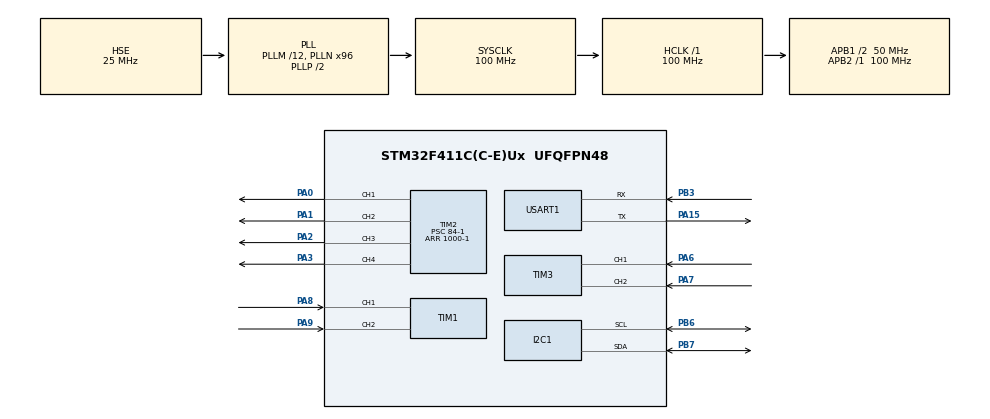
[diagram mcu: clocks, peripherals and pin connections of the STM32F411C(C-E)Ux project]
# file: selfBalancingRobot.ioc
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Mcu.Family=STM32F4
Mcu.Name=STM32F411C(C-E)Ux
Mcu.Package=UFQFPN48
NVIC.PriorityGroup=NVIC_PRIORITYGROUP_4
NVIC.TIM4_IRQn=true\:0\:0\:false\:false\:true\:true\:true\:true
PA0-WKUP.Signal=S_TIM2_CH1_ETR
PA1.Signal=S_TIM2_CH2
PA15.Mode=Asynchronous
PA15.Signal=USART1_TX
PA2.Signal=S_TIM2_CH3
PA3.Signal=S_TIM2_CH4
PA6.Signal=S_TIM3_CH1
PA7.Signal=S_TIM3_CH2
PA8.Signal=S_TIM1_CH1
PA9.Signal=S_TIM1_CH2
PB3.Mode=Asynchronous
PB3.Signal=USART1_RX
PB6.GPIO_Pu=GPIO_PULLUP
PB6.GPIO_Speed=GPIO_SPEED_FREQ_LOW
PB6.Mode=I2C
PB6.Signal=I2C1_SCL
PB7.GPIO_Pu=GPIO_PULLUP
PB7.GPIO_Speed=GPIO_SPEED_FREQ_LOW
PB7.Mode=I2C
PB7.Signal=I2C1_SDA
PH0\ -\ OSC_IN.Mode=HSE-External-Oscillator
PH0\ -\ OSC_IN.Signal=RCC_OSC_IN
PH1\ -\ OSC_OUT.Mode=HSE-External-Oscillator
PH1\ -\ OSC_OUT.Signal=RCC_OSC_OUT
ProjectManager.HeapSize=0x200
ProjectManager.StackSize=0x400
ProjectManager.TargetToolchain=STM32CubeIDE
RCC.48MHZClocksFreq_Value=50000000
RCC.AHBFreq_Value=100000000
RCC.APB1CLKDivider=RCC_HCLK_DIV2
RCC.APB1Freq_Value=50000000
RCC.APB1TimFreq_Value=100000000
RCC.APB2Freq_Value=100000000
RCC.APB2TimFreq_Value=100000000
RCC.CortexFreq_Value=100000000
RCC.HCLKFreq_Value=100000000
RCC.HSE_VALUE=25000000
RCC.HSI_VALUE=16000000
RCC.LSE_VALUE=32768
RCC.PLLM=12
RCC.PLLN=96
RCC.PLLSourceVirtual=RCC_PLLSOURCE_HSE
RCC.SYSCLKFreq_VALUE=100000000
RCC.SYSCLKSource=RCC_SYSCLKSOURCE_PLLCLK
RCC.VCOOutputFreq_Value=200000000
SH.S_TIM1_CH1.0=TIM1_CH1,Encoder_Interface
SH.S_TIM1_CH2.0=TIM1_CH2,Encoder_Interface
SH.S_TIM2_CH1_ETR.0=TIM2_CH1,PWM Generation1 CH1
SH.S_TIM2_CH2.0=TIM2_CH2,PWM Generation2 CH2
SH.S_TIM2_CH3.0=TIM2_CH3,PWM Generation3 CH3
SH.S_TIM2_CH4.0=TIM2_CH4,PWM Generation4 CH4
SH.S_TIM3_CH1.0=TIM3_CH1,Encoder_Interface
SH.S_TIM3_CH2.0=TIM3_CH2,Encoder_Interface
TIM2.Channel-PWM\ Generation1\ CH1=TIM_CHANNEL_1
TIM2.Channel-PWM\ Generation2\ CH2=TIM_CHANNEL_2
TIM2.Channel-PWM\ Generation3\ CH3=TIM_CHANNEL_3
TIM2.Channel-PWM\ Generation4\ CH4=TIM_CHANNEL_4
TIM2.Period=1000-1
TIM2.Prescaler=84-1
TIM4.Period=1999
TIM4.Prescaler=99
USART1.VirtualMode=VM_ASYNC
VP_TIM4_VS_ClockSourceINT.Mode=Internal
board=custom

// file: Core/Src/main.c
/* USER CODE BEGIN Header */
/**
  ******************************************************************************
  * @file           : main.c
  * @brief          : Main program body
  ******************************************************************************
  * @attention
  *
  * Copyright (c) 2026 STMicroelectronics.
  * All rights reserved.
  *
  * This software is licensed under terms that can be found in the LICENSE file
  * in the root directory of this software component.
  * If no LICENSE file comes with this software, it is provided AS-IS.
  *
  ******************************************************************************
  */
/* USER CODE END Header */
#include "main.h"

/* USER CODE BEGIN Includes */
#include "MPU6050.h"
#include "motor.h"
#include "PID.h"
#include <stdio.h>
#include <string.h>
/* USER CODE END Includes */

I2C_HandleTypeDef hi2c1;

TIM_HandleTypeDef htim1;
TIM_HandleTypeDef htim2;
TIM_HandleTypeDef htim3;
TIM_HandleTypeDef htim4;

UART_HandleTypeDef huart1;

/* USER CODE BEGIN PV */
extern volatile float motor_output_debug;
volatile uint8_t control_flag = 0;
volatile uint8_t count = 0;
PIDController pidController = {
    .kp = 15.0f,
    .ki = 0.0f,
    .kd = 1.5f,
    .sampling_time = 0.002f
};
/* USER CODE END PV */

void SystemClock_Config(void);
static void MX_GPIO_Init(void);
static void MX_TIM2_Init(void);
static void MX_TIM3_Init(void);
static void MX_I2C1_Init(void);
static void MX_USART1_UART_Init(void);
static void MX_TIM4_Init(void);
static void MX_TIM1_Init(void);

int main(void)
{

  /* MCU Configuration--------------------------------------------------------*/

  /* Reset of all peripherals, Initializes the Flash interface and the Systick. */
  HAL_Init();

  /* Configure the system clock */
  SystemClock_Config();

  /* USER CODE BEGIN SysInit */
  HAL_Delay(500);

  /* USER CODE END SysInit */

  /* Initialize all configured peripherals */
  MX_GPIO_Init();
  MX_TIM2_Init();
  MX_TIM3_Init();
  MX_I2C1_Init();
  MX_USART1_UART_Init();
  MX_TIM4_Init();
  MX_TIM1_Init();
  /* USER CODE BEGIN 2 */
  HAL_TIM_Base_Start_IT(&htim4);
  Motor_Init();
  mpu6050_init();
  PIDController_Init(&pidController);

  /* USER CODE END 2 */

  /* Infinite loop */
  /* USER CODE BEGIN WHILE */
  while (1)
  {
	  if(control_flag == 1){
		  control_flag = 0;
		  mpu6050_read();
		  float angle = mpu6050_get_angle(pidController.sampling_time);
		  PIDController_Update(&pidController, 9.5, angle);

		  if(angle < (45+9.5) && angle> (-45 + 9.5)){

			  Motor_Set(-pidController.motor_output, 0);

		  }
		  else{
			  Motor_Stop();
		  }

	  }

    /* USER CODE END WHILE */

  }
}

void SystemClock_Config(void)
{
  RCC_OscInitTypeDef RCC_OscInitStruct = {0};
  RCC_ClkInitTypeDef RCC_ClkInitStruct = {0};

  /** Configure the main internal regulator output voltage
  */
  __HAL_RCC_PWR_CLK_ENABLE();
  __HAL_PWR_VOLTAGESCALING_CONFIG(PWR_REGULATOR_VOLTAGE_SCALE1);

  /** Initializes the RCC Oscillators according to the specified parameters
  * in the RCC_OscInitTypeDef structure.
  */
  RCC_OscInitStruct.OscillatorType = RCC_OSCILLATORTYPE_HSE;
  RCC_OscInitStruct.HSEState = RCC_HSE_ON;
  RCC_OscInitStruct.PLL.PLLState = RCC_PLL_ON;
  RCC_OscInitStruct.PLL.PLLSource = RCC_PLLSOURCE_HSE;
  RCC_OscInitStruct.PLL.PLLM = 12;
  RCC_OscInitStruct.PLL.PLLN = 96;
  RCC_OscInitStruct.PLL.PLLP = RCC_PLLP_DIV2;
  RCC_OscInitStruct.PLL.PLLQ = 4;
  if (HAL_RCC_OscConfig(&RCC_OscInitStruct) != HAL_OK)
  {
    Error_Handler();
  }

  /** Initializes the CPU, AHB and APB buses clocks
  */
  RCC_ClkInitStruct.ClockType = RCC_CLOCKTYPE_HCLK|RCC_CLOCKTYPE_SYSCLK
                              |RCC_CLOCKTYPE_PCLK1|RCC_CLOCKTYPE_PCLK2;
  RCC_ClkInitStruct.SYSCLKSource = RCC_SYSCLKSOURCE_PLLCLK;
  RCC_ClkInitStruct.AHBCLKDivider = RCC_SYSCLK_DIV1;
  RCC_ClkInitStruct.APB1CLKDivider = RCC_HCLK_DIV2;
  RCC_ClkInitStruct.APB2CLKDivider = RCC_HCLK_DIV1;

  if (HAL_RCC_ClockConfig(&RCC_ClkInitStruct, FLASH_LATENCY_3) != HAL_OK)
  {
    Error_Handler();
  }
}

static void MX_I2C1_Init(void)
{

  hi2c1.Instance = I2C1;
  hi2c1.Init.ClockSpeed = 400000;
  hi2c1.Init.DutyCycle = I2C_DUTYCYCLE_2;
  hi2c1.Init.OwnAddress1 = 0;
  hi2c1.Init.AddressingMode = I2C_ADDRESSINGMODE_7BIT;
  hi2c1.Init.DualAddressMode = I2C_DUALADDRESS_DISABLE;
  hi2c1.Init.OwnAddress2 = 0;
  hi2c1.Init.GeneralCallMode = I2C_GENERALCALL_DISABLE;
  hi2c1.Init.NoStretchMode = I2C_NOSTRETCH_DISABLE;
  if (HAL_I2C_Init(&hi2c1) != HAL_OK)
  {
    Error_Handler();
  }

}

static void MX_TIM1_Init(void)
{

  TIM_Encoder_InitTypeDef sConfig = {0};
  TIM_MasterConfigTypeDef sMasterConfig = {0};

  htim1.Instance = TIM1;
  htim1.Init.Prescaler = 0;
  htim1.Init.CounterMode = TIM_COUNTERMODE_UP;
  htim1.Init.Period = 65535;
  htim1.Init.ClockDivision = TIM_CLOCKDIVISION_DIV1;
  htim1.Init.RepetitionCounter = 0;
  htim1.Init.AutoReloadPreload = TIM_AUTORELOAD_PRELOAD_DISABLE;
  sConfig.EncoderMode = TIM_ENCODERMODE_TI1;
  sConfig.IC1Polarity = TIM_ICPOLARITY_RISING;
  sConfig.IC1Selection = TIM_ICSELECTION_DIRECTTI;
  sConfig.IC1Prescaler = TIM_ICPSC_DIV1;
  sConfig.IC1Filter = 0;
  sConfig.IC2Polarity = TIM_ICPOLARITY_RISING;
  sConfig.IC2Selection = TIM_ICSELECTION_DIRECTTI;
  sConfig.IC2Prescaler = TIM_ICPSC_DIV1;
  sConfig.IC2Filter = 0;
  if (HAL_TIM_Encoder_Init(&htim1, &sConfig) != HAL_OK)
  {
    Error_Handler();
  }
  sMasterConfig.MasterOutputTrigger = TIM_TRGO_RESET;
  sMasterConfig.MasterSlaveMode = TIM_MASTERSLAVEMODE_DISABLE;
  if (HAL_TIMEx_MasterConfigSynchronization(&htim1, &sMasterConfig) != HAL_OK)
  {
    Error_Handler();
  }

}

static void MX_TIM2_Init(void)
{

  TIM_MasterConfigTypeDef sMasterConfig = {0};
  TIM_OC_InitTypeDef sConfigOC = {0};

  htim2.Instance = TIM2;
  htim2.Init.Prescaler = 84-1;
  htim2.Init.CounterMode = TIM_COUNTERMODE_UP;
  htim2.Init.Period = 1000-1;
  htim2.Init.ClockDivision = TIM_CLOCKDIVISION_DIV1;
  htim2.Init.AutoReloadPreload = TIM_AUTORELOAD_PRELOAD_DISABLE;
  if (HAL_TIM_PWM_Init(&htim2) != HAL_OK)
  {
    Error_Handler();
  }
  sMasterConfig.MasterOutputTrigger = TIM_TRGO_RESET;
  sMasterConfig.MasterSlaveMode = TIM_MASTERSLAVEMODE_DISABLE;
  if (HAL_TIMEx_MasterConfigSynchronization(&htim2, &sMasterConfig) != HAL_OK)
  {
    Error_Handler();
  }
  sConfigOC.OCMode = TIM_OCMODE_PWM1;
  sConfigOC.Pulse = 0;
  sConfigOC.OCPolarity = TIM_OCPOLARITY_HIGH;
  sConfigOC.OCFastMode = TIM_OCFAST_DISABLE;
  if (HAL_TIM_PWM_ConfigChannel(&htim2, &sConfigOC, TIM_CHANNEL_1) != HAL_OK)
  {
    Error_Handler();
  }
  if (HAL_TIM_PWM_ConfigChannel(&htim2, &sConfigOC, TIM_CHANNEL_2) != HAL_OK)
  {
    Error_Handler();
  }
  if (HAL_TIM_PWM_ConfigChannel(&htim2, &sConfigOC, TIM_CHANNEL_3) != HAL_OK)
  {
    Error_Handler();
  }
  if (HAL_TIM_PWM_ConfigChannel(&htim2, &sConfigOC, TIM_CHANNEL_4) != HAL_OK)
  {
    Error_Handler();
  }
  HAL_TIM_MspPostInit(&htim2);

}

static void MX_TIM3_Init(void)
{

  TIM_Encoder_InitTypeDef sConfig = {0};
  TIM_MasterConfigTypeDef sMasterConfig = {0};

  htim3.Instance = TIM3;
  htim3.Init.Prescaler = 0;
  htim3.Init.CounterMode = TIM_COUNTERMODE_UP;
  htim3.Init.Period = 65535;
  htim3.Init.ClockDivision = TIM_CLOCKDIVISION_DIV1;
  htim3.Init.AutoReloadPreload = TIM_AUTORELOAD_PRELOAD_DISABLE;
  sConfig.EncoderMode = TIM_ENCODERMODE_TI1;
  sConfig.IC1Polarity = TIM_ICPOLARITY_RISING;
  sConfig.IC1Selection = TIM_ICSELECTION_DIRECTTI;
  sConfig.IC1Prescaler = TIM_ICPSC_DIV1;
  sConfig.IC1Filter = 0;
  sConfig.IC2Polarity = TIM_ICPOLARITY_RISING;
  sConfig.IC2Selection = TIM_ICSELECTION_DIRECTTI;
  sConfig.IC2Prescaler = TIM_ICPSC_DIV1;
  sConfig.IC2Filter = 0;
  if (HAL_TIM_Encoder_Init(&htim3, &sConfig) != HAL_OK)
  {
    Error_Handler();
  }
  sMasterConfig.MasterOutputTrigger = TIM_TRGO_RESET;
  sMasterConfig.MasterSlaveMode = TIM_MASTERSLAVEMODE_DISABLE;
  if (HAL_TIMEx_MasterConfigSynchronization(&htim3, &sMasterConfig) != HAL_OK)
  {
    Error_Handler();
  }

}

static void MX_TIM4_Init(void)
{

  TIM_ClockConfigTypeDef sClockSourceConfig = {0};
  TIM_MasterConfigTypeDef sMasterConfig = {0};

  htim4.Instance = TIM4;
  htim4.Init.Prescaler = 99;
  htim4.Init.CounterMode = TIM_COUNTERMODE_UP;
  htim4.Init.Period = 1999;
  htim4.Init.ClockDivision = TIM_CLOCKDIVISION_DIV1;
  htim4.Init.AutoReloadPreload = TIM_AUTORELOAD_PRELOAD_DISABLE;
  if (HAL_TIM_Base_Init(&htim4) != HAL_OK)
  {
    Error_Handler();
  }
  sClockSourceConfig.ClockSource = TIM_CLOCKSOURCE_INTERNAL;
  if (HAL_TIM_ConfigClockSource(&htim4, &sClockSourceConfig) != HAL_OK)
  {
    Error_Handler();
  }
  sMasterConfig.MasterOutputTrigger = TIM_TRGO_RESET;
  sMasterConfig.MasterSlaveMode = TIM_MASTERSLAVEMODE_DISABLE;
  if (HAL_TIMEx_MasterConfigSynchronization(&htim4, &sMasterConfig) != HAL_OK)
  {
    Error_Handler();
  }

}

static void MX_USART1_UART_Init(void)
{

  huart1.Instance = USART1;
  huart1.Init.BaudRate = 115200;
  huart1.Init.WordLength = UART_WORDLENGTH_8B;
  huart1.Init.StopBits = UART_STOPBITS_1;
  huart1.Init.Parity = UART_PARITY_NONE;
  huart1.Init.Mode = UART_MODE_TX_RX;
  huart1.Init.HwFlowCtl = UART_HWCONTROL_NONE;
  huart1.Init.OverSampling = UART_OVERSAMPLING_16;
  if (HAL_UART_Init(&huart1) != HAL_OK)
  {
    Error_Handler();
  }

}

static void MX_GPIO_Init(void)
{

  /* GPIO Ports Clock Enable */
  __HAL_RCC_GPIOH_CLK_ENABLE();
  __HAL_RCC_GPIOA_CLK_ENABLE();
  __HAL_RCC_GPIOB_CLK_ENABLE();

}

/* USER CODE BEGIN 4 */
void HAL_TIM_PeriodElapsedCallback(TIM_HandleTypeDef *htim)
{
    if (htim->Instance == TIM4)
    {
        control_flag = 1;

    }
}
/* USER CODE END 4 */

void Error_Handler(void)
{
  /* USER CODE BEGIN Error_Handler_Debug */
  /* User can add his own implementation to report the HAL error return state */
	Motor_Stop();
  __disable_irq();
  while (1)
  {
  }
  /* USER CODE END Error_Handler_Debug */
}
